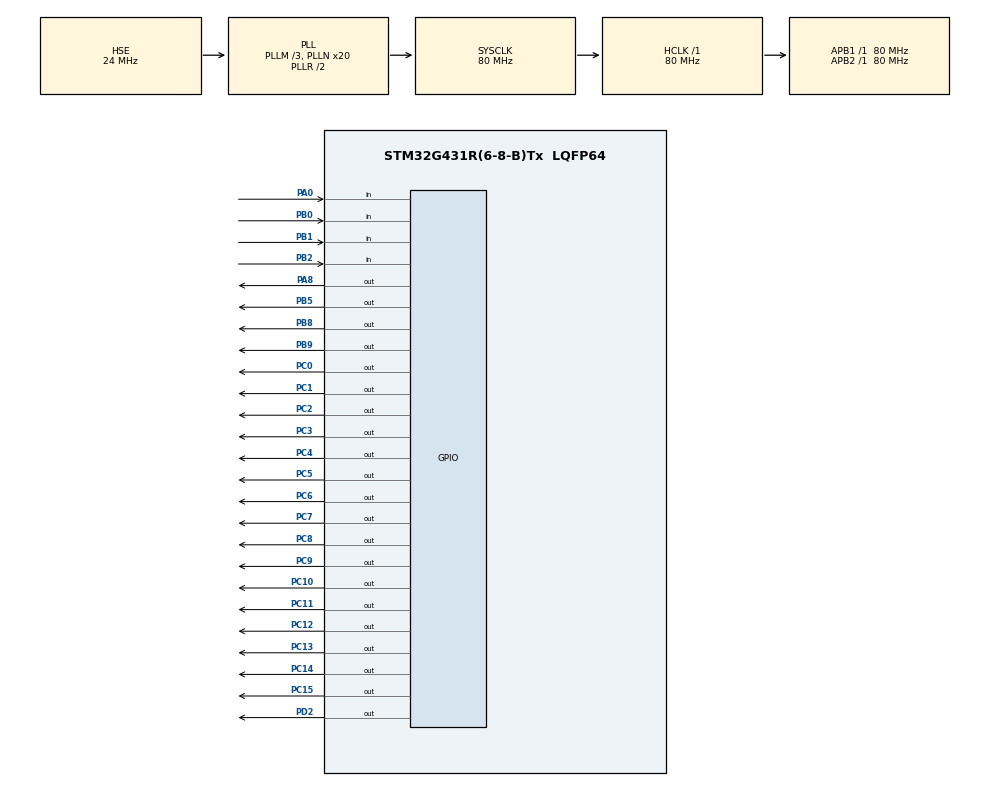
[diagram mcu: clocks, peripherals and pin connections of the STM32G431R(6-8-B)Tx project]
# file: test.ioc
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Mcu.Family=STM32G4
Mcu.Name=STM32G431R(6-8-B)Tx
Mcu.Package=LQFP64
NVIC.PriorityGroup=NVIC_PRIORITYGROUP_4
NVIC.TIM3_IRQn=true\:0\:0\:false\:false\:true\:true\:true\:true
PA0.GPIO_Mode=GPIO_MODE_INPUT
PA0.GPIO_PuPd=GPIO_PULLUP
PA0.Signal=GPIO_Input
PA13.Mode=Serial_Wire
PA13.Signal=SYS_JTMS-SWDIO
PA14.Mode=Serial_Wire
PA14.Signal=SYS_JTCK-SWCLK
PA8.Signal=GPIO_Output
PB0.GPIO_Mode=GPIO_MODE_INPUT
PB0.GPIO_PuPd=GPIO_PULLUP
PB0.Signal=GPIO_Input
PB1.GPIO_Mode=GPIO_MODE_INPUT
PB1.GPIO_PuPd=GPIO_PULLUP
PB1.Signal=GPIO_Input
PB2.GPIO_Mode=GPIO_MODE_INPUT
PB2.GPIO_PuPd=GPIO_PULLUP
PB2.Signal=GPIO_Input
PB5.Signal=GPIO_Output
PB8-BOOT0.Signal=GPIO_Output
PB9.Signal=GPIO_Output
PC0.Signal=GPIO_Output
PC1.Signal=GPIO_Output
PC10.PinState=GPIO_PIN_SET
PC10.Signal=GPIO_Output
PC11.PinState=GPIO_PIN_SET
PC11.Signal=GPIO_Output
PC12.PinState=GPIO_PIN_SET
PC12.Signal=GPIO_Output
PC13.PinState=GPIO_PIN_SET
PC13.Signal=GPIO_Output
PC14-OSC32_IN.PinState=GPIO_PIN_SET
PC14-OSC32_IN.Signal=GPIO_Output
PC15-OSC32_OUT.PinState=GPIO_PIN_SET
PC15-OSC32_OUT.Signal=GPIO_Output
PC2.Signal=GPIO_Output
PC3.Signal=GPIO_Output
PC4.Signal=GPIO_Output
PC5.Signal=GPIO_Output
PC6.Signal=GPIO_Output
PC7.Signal=GPIO_Output
PC8.PinState=GPIO_PIN_SET
PC8.Signal=GPIO_Output
PC9.PinState=GPIO_PIN_SET
PC9.Signal=GPIO_Output
PD2.Signal=GPIO_Output
PF0-OSC_IN.Mode=HSE-External-Oscillator
PF0-OSC_IN.Signal=RCC_OSC_IN
PF1-OSC_OUT.Mode=HSE-External-Oscillator
PF1-OSC_OUT.Signal=RCC_OSC_OUT
ProjectManager.HeapSize=0x200
ProjectManager.StackSize=0x400
ProjectManager.TargetToolchain=MDK-ARM V5.32
RCC.ADC12Freq_Value=80000000
RCC.AHBFreq_Value=80000000
RCC.APB1Freq_Value=80000000
RCC.APB1TimFreq_Value=80000000
RCC.APB2Freq_Value=80000000
RCC.APB2TimFreq_Value=80000000
RCC.CortexFreq_Value=80000000
RCC.EXTERNAL_CLOCK_VALUE=12288000
RCC.HCLKFreq_Value=80000000
RCC.HSE_VALUE=24000000
RCC.HSI48_VALUE=48000000
RCC.HSI_VALUE=16000000
RCC.LSE_VALUE=32768
RCC.PLLM=RCC_PLLM_DIV3
RCC.PLLN=20
RCC.PLLSourceVirtual=RCC_PLLSOURCE_HSE
RCC.SYSCLKFreq_VALUE=80000000
RCC.SYSCLKSource=RCC_SYSCLKSOURCE_PLLCLK
RCC.USBFreq_Value=80000000
RCC.VCOOutputFreq_Value=160000000
TIM3.PeriodNoDither=10000
TIM3.Prescaler=80
VP_SYS_VS_DBSignals.Mode=DisableDeadBatterySignals
VP_TIM3_VS_ClockSourceINT.Mode=Internal
board=custom

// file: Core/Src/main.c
/* USER CODE BEGIN Header */
/**
  ******************************************************************************
  * @file           : main.c
  * @brief          : Main program body
  ******************************************************************************
  * @attention
  *
  * Copyright (c) 2023 STMicroelectronics.
  * All rights reserved.
  *
  * This software is licensed under terms that can be found in the LICENSE file
  * in the root directory of this software component.
  * If no LICENSE file comes with this software, it is provided AS-IS.
  *
  ******************************************************************************
  */
/* USER CODE END Header */
#include "main.h"
#include "tim.h"
#include "gpio.h"

/* USER CODE BEGIN Includes */
#include "led.h"
#include "lcd.h"
#include "stdio.h"
#include "interrupt.h"
/* USER CODE END Includes */

/* USER CODE BEGIN PTD */

extern struct keys key[];
char showText[20];

struct TaskNum{
	uchar firstTask;
	uchar secondTask;
};
struct TaskNum taskNum={0,0};

uchar secTaskLv[3]={0,0,0};

const uchar taskTable[3][3]={
	{1,2,3},
	{4,5,6},
	{7,8,9}
};
uchar secTaskNum=0;
/* USER CODE END PTD */

void SystemClock_Config(void);
/* USER CODE BEGIN PFP */

void changeFirTask(void){
	taskNum.firstTask=(taskNum.firstTask+1)%3;
}
void changeSecTask(void){
	secTaskLv[taskNum.firstTask]=(secTaskLv[taskNum.firstTask]+1)%3;
}
void showTask(){
	sprintf(showText,"   %d  %d     ",taskNum.firstTask+1,taskTable[taskNum.firstTask][secTaskLv[taskNum.firstTask]]);
	LCD_DisplayStringLine(Line6,(unsigned char *)showText);
}//taskTable[taskNum.firstTask-1][secTaskLv[taskNum.firstTask-1]-1]

/* USER CODE END PFP */

int main(void)
{

  /* MCU Configuration--------------------------------------------------------*/

  /* Reset of all peripherals, Initializes the Flash interface and the Systick. */
  HAL_Init();

  /* Configure the system clock */
  SystemClock_Config();

  /* Initialize all configured peripherals */
  MX_GPIO_Init();
  MX_TIM3_Init();
  /* USER CODE BEGIN 2 */
    LCD_Init();
  /* USER CODE END 2 */

  /* Infinite loop */
  /* USER CODE BEGIN WHILE */
	LCD_Clear(Green);
    LCD_SetBackColor(Green);
    LCD_SetTextColor(Black);

	HAL_TIM_Base_Start_IT(&htim3);

    LCD_Clear(Green);
    LCD_DisplayStringLine(Line2, (unsigned char *)"     hello_Pupil    ");
  while (1)
  {
    /* USER CODE END WHILE */

    /* USER CODE BEGIN 3 */
	showTask();
	if(key[0].keyValue==1){
		LCD_ClearLine(Line6);
		changeFirTask();
		key[0].keyValue=0;
	}
	if(key[1].keyValue==1){
		LCD_ClearLine(Line6);
		changeSecTask();
		key[1].keyValue=0;
	}
  }
  /* USER CODE END 3 */
}

void SystemClock_Config(void)
{
  RCC_OscInitTypeDef RCC_OscInitStruct = {0};
  RCC_ClkInitTypeDef RCC_ClkInitStruct = {0};

  /** Configure the main internal regulator output voltage
  */
  HAL_PWREx_ControlVoltageScaling(PWR_REGULATOR_VOLTAGE_SCALE1);

  /** Initializes the RCC Oscillators according to the specified parameters
  * in the RCC_OscInitTypeDef structure.
  */
  RCC_OscInitStruct.OscillatorType = RCC_OSCILLATORTYPE_HSE;
  RCC_OscInitStruct.HSEState = RCC_HSE_ON;
  RCC_OscInitStruct.PLL.PLLState = RCC_PLL_ON;
  RCC_OscInitStruct.PLL.PLLSource = RCC_PLLSOURCE_HSE;
  RCC_OscInitStruct.PLL.PLLM = RCC_PLLM_DIV3;
  RCC_OscInitStruct.PLL.PLLN = 20;
  RCC_OscInitStruct.PLL.PLLP = RCC_PLLP_DIV2;
  RCC_OscInitStruct.PLL.PLLQ = RCC_PLLQ_DIV2;
  RCC_OscInitStruct.PLL.PLLR = RCC_PLLR_DIV2;
  if (HAL_RCC_OscConfig(&RCC_OscInitStruct) != HAL_OK)
  {
    Error_Handler();
  }

  /** Initializes the CPU, AHB and APB buses clocks
  */
  RCC_ClkInitStruct.ClockType = RCC_CLOCKTYPE_HCLK|RCC_CLOCKTYPE_SYSCLK
                              |RCC_CLOCKTYPE_PCLK1|RCC_CLOCKTYPE_PCLK2;
  RCC_ClkInitStruct.SYSCLKSource = RCC_SYSCLKSOURCE_PLLCLK;
  RCC_ClkInitStruct.AHBCLKDivider = RCC_SYSCLK_DIV1;
  RCC_ClkInitStruct.APB1CLKDivider = RCC_HCLK_DIV1;
  RCC_ClkInitStruct.APB2CLKDivider = RCC_HCLK_DIV1;

  if (HAL_RCC_ClockConfig(&RCC_ClkInitStruct, FLASH_LATENCY_2) != HAL_OK)
  {
    Error_Handler();
  }
}

void Error_Handler(void)
{
  __disable_irq();
  while (1)
  {
  }
}
